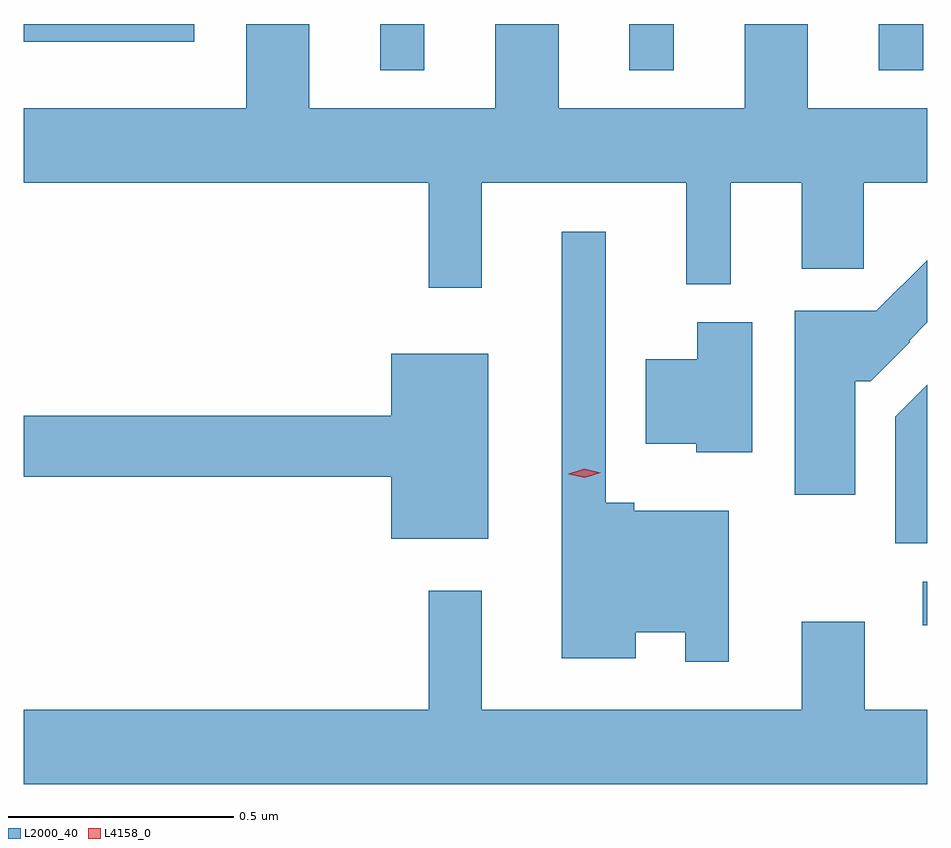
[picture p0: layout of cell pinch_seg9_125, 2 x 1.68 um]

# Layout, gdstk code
import gdstk
lib = gdstk.Library(unit=1e-6, precision=1e-09)
def R(c, l, rs):  # rectangles x0, y0, x1, y1
    for r in rs: c.add(gdstk.rectangle(r[:2], r[2:], *l))
def A(c, l, x, y, w, h, nx, ny, dx, dy):  # array of equal rectangles
    R(c, l, [(x+i*dx, y+j*dy, x+i*dx+w, y+j*dy+h) for i in range(nx) for j in range(ny)])
def P(c, l, *ps):  # polygons
    for p in ps: c.add(gdstk.Polygon(p, *l))
L2000_40 = (2000, 40)
L4158_0 = (4158, 0)

pinch_seg9_125 = lib.new_cell('pinch_seg9_125')
A(pinch_seg9_125, L2000_40, 825.56, 1229.969, 0.098, 0.102, 3, 1, 0.552, 0)
R(pinch_seg9_125, L2000_40, [(826.761,1228.74,826.771,1228.836), (824.771,1230.032,825.148,1230.071)])
P(pinch_seg9_125, L2000_40, [(825.785,1229.72),(826.238,1229.72),(826.238,1229.495),(826.336,1229.495),(826.336,1229.72),(826.493,1229.72),(826.493,1229.529),(826.631,1229.529),(826.631,1229.72),(826.771,1229.72),(826.771,1229.884),(826.507,1229.884),(826.507,1230.071),(826.367,1230.071),(826.367,1229.884),(825.955,1229.884),(825.955,1230.071),(825.815,1230.071),(825.815,1229.884),(825.403,1229.884),(825.403,1230.071),(825.263,1230.071),(825.263,1229.884),(824.771,1229.884),(824.771,1229.72),(825.667,1229.72),(825.667,1229.487),(825.785,1229.487)],
  [(826.332,1228.993),(826.122,1228.993),(826.122,1229.011),(826.059,1229.011),(826.059,1229.611),(825.962,1229.611),(825.962,1228.667),(826.126,1228.667),(826.126,1228.724),(826.236,1228.724),(826.236,1228.659),(826.332,1228.659)],
  [(826.612,1229.28),(826.646,1229.28),(826.734,1229.367),(826.731,1229.37),(826.771,1229.41),(826.771,1229.548),(826.659,1229.436),(826.478,1229.436),(826.478,1229.028),(826.612,1229.028)],
  [(826.384,1229.41),(826.262,1229.41),(826.262,1229.329),(826.148,1229.329),(826.148,1229.141),(826.26,1229.141),(826.26,1229.123),(826.384,1229.123)],
  [(825.799,1229.341),(825.584,1229.341),(825.584,1229.204),(824.771,1229.204),(824.771,1229.068),(825.584,1229.068),(825.584,1228.931),(825.799,1228.931)],
  [(826.771,1229.272),(826.7,1229.201),(826.7,1228.921),(826.771,1228.921)],
  [(826.771,1228.552),(826.633,1228.552),(826.633,1228.747),(826.493,1228.747),(826.493,1228.552),(825.785,1228.552),(825.785,1228.816),(825.667,1228.816),(825.667,1228.552),(824.771,1228.552),(824.771,1228.388),(826.771,1228.388)])
P(pinch_seg9_125, L4158_0, [(826.013,1229.066),(825.977,1229.074),(825.977,1229.074),(825.977,1229.075),(826.012,1229.086),(826.048,1229.077),(826.048,1229.077),(826.048,1229.077)])

lib.write_gds('pinch_seg9_125.gds')
